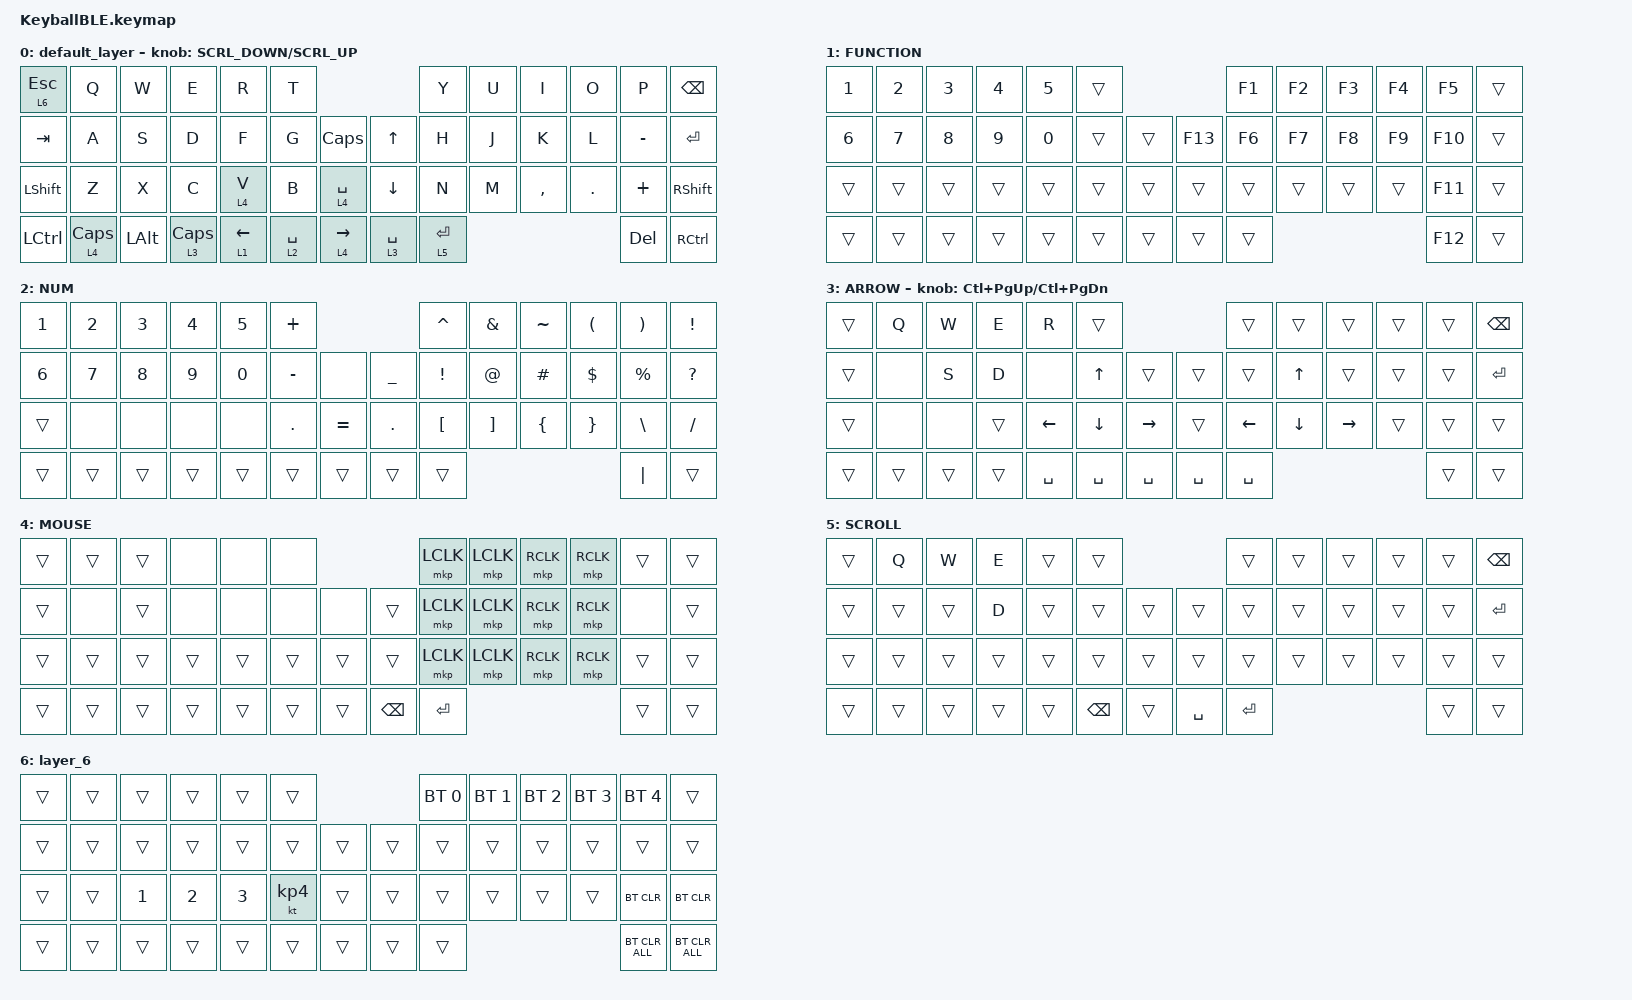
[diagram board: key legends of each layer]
#define ZMK_POINTING_DEFAULT_SCRL_VAL 120    // default: 10

#include <behaviors.dtsi>
#include <dt-bindings/zmk/bt.h>
#include <dt-bindings/zmk/keys.h>
#include <dt-bindings/zmk/pointing.h>

#define MOUSE 4
#define SCROLL 5
#define NUM 6

&mt {
    flavor = "balanced";
    quick-tap-ms = <0>;
};

/ {
    combos {
        compatible = "zmk,combos";

        double_quotation {
            bindings = <&kp DOUBLE_QUOTES>;
            key-positions = <20 21>;
        };
    };

    macros {
        to_layer_0: to_layer_0 {
            compatible = "zmk,behavior-macro-one-param";
            #binding-cells = <1>;
            bindings = <&to 0 &macro_param_1to1 &kp MACRO_PLACEHOLDER>;
            label = "TO_LAYER_0";
        };
    };

    behaviors {
        lt_to_layer_0: lt_to_layer_0 {
            compatible = "zmk,behavior-hold-tap";
            label = "LAYER_TAP_TO_0";
            bindings = <&mo>, <&to_layer_0>;

            #binding-cells = <2>;
            tapping-term-ms = <200>;
        };

        ROTATE: ROTATE {
            compatible = "zmk,behavior-sensor-rotate-var";
            label = "ROTATE";
            #sensor-binding-cells = <2>;
            bindings = <&msc>, <&msc>;

            tap-ms = <20>;
        };
    };

    keymap {
        compatible = "zmk,keymap";

        default_layer {
            bindings = <
&lt 6 ESC  &kp Q           &kp W     &kp E       &kp R             &kp T                                       &kp Y        &kp U  &kp I      &kp O    &kp P      &kp BSPC
&kp TAB    &kp A           &kp S     &kp D       &kp F             &kp G        &kp CAPS       &kp UP_ARROW    &kp H        &kp J  &kp K      &kp L    &kp MINUS  &kp ENTER
&kp LSHFT  &kp Z           &kp X     &kp C       &lt 4 V           &kp B        &lt 4 SPACE    &kp DOWN_ARROW  &kp N        &kp M  &kp COMMA  &kp DOT  &kp PLUS   &kp RSHFT
&kp LCTRL  &lt 4 CAPSLOCK  &kp LALT  &lt 3 CAPS  &lt 1 LEFT_ARROW  &lt 2 SPACE  &lt 4 RIGHT    &lt 3 SPACE     &lt 5 ENTER                             &kp DEL    &kp RCTRL
            >;

            sensor-bindings = <&ROTATE SCRL_DOWN SCRL_UP>;
        };

        FUNCTION {
            bindings = <
&kp NUMBER_1  &kp NUMBER_2  &kp NUMBER_3  &kp NUMBER_4  &kp NUMBER_5  &trans                     &kp F1  &kp F2  &kp F3  &kp F4  &kp F5   &trans
&kp NUMBER_6  &kp NUMBER_7  &kp NUMBER_8  &kp NUMBER_9  &kp NUMBER_0  &trans  &trans    &kp F13  &kp F6  &kp F7  &kp F8  &kp F9  &kp F10  &trans
&trans        &trans        &trans        &trans        &trans        &trans  &trans    &trans   &trans  &trans  &trans  &trans  &kp F11  &trans
&trans        &trans        &trans        &trans        &trans        &trans  &trans    &trans   &trans                          &kp F12  &trans
            >;
        };

        NUM {
            bindings = <
&kp NUMBER_1  &kp NUMBER_2  &kp NUMBER_3  &kp NUMBER_4  &kp NUMBER_5  &kp PLUS                                &kp CARET         &kp AMPERSAND      &kp TILDE       &kp LEFT_PARENTHESIS  &kp RIGHT_PARENTHESIS  &kp EXCL
&kp NUMBER_6  &kp NUMBER_7  &kp NUMBER_8  &kp NUMBER_9  &kp NUMBER_0  &kp MINUS  &none        &kp UNDERSCORE  &kp EXCLAMATION   &kp AT_SIGN        &kp HASH        &kp DOLLAR            &kp PERCENT            &kp QUESTION
&trans        &none         &none         &none         &none         &kp DOT    &kp EQUAL    &kp DOT         &kp LEFT_BRACKET  &kp RIGHT_BRACKET  &kp LEFT_BRACE  &kp RIGHT_BRACE       &kp BACKSLASH          &kp SLASH
&trans        &trans        &trans        &trans        &trans        &trans     &trans       &trans          &trans                                                                     &kp PIPE               &trans
            >;
        };

        ARROW {
            bindings = <
&trans  &kp Q   &kp W   &kp E   &kp R           &trans                                        &trans          &trans          &trans           &trans  &trans  &kp BACKSPACE
&trans  &none   &kp S   &kp D   &none           &kp UP_ARROW    &trans             &trans     &trans          &kp UP_ARROW    &trans           &trans  &trans  &kp ENTER
&trans  &none   &none   &trans  &kp LEFT_ARROW  &kp DOWN_ARROW  &kp RIGHT_ARROW    &trans     &kp LEFT_ARROW  &kp DOWN_ARROW  &kp RIGHT_ARROW  &trans  &trans  &trans
&trans  &trans  &trans  &trans  &kp SPACE       &kp SPACE       &kp SPACE          &kp SPACE  &kp SPACE                                                &trans  &trans
            >;

            sensor-bindings = <&inc_dec_kp LC(PAGE_UP) LC(PAGE_DOWN)>;
        };

        MOUSE {
            bindings = <
&trans  &trans  &trans  &none   &none   &none                            &mkp LCLK  &mkp LCLK  &mkp RCLK  &mkp RCLK  &trans  &trans
&trans  &none   &trans  &none   &none   &none   &none     &trans         &mkp LCLK  &mkp LCLK  &mkp RCLK  &mkp RCLK  &none   &trans
&trans  &trans  &trans  &trans  &trans  &trans  &trans    &trans         &mkp LCLK  &mkp LCLK  &mkp RCLK  &mkp RCLK  &trans  &trans
&trans  &trans  &trans  &trans  &trans  &trans  &trans    &kp BACKSPACE  &kp ENTER                                   &trans  &trans
            >;
        };

        SCROLL {
            bindings = <
&trans  &kp Q   &kp W   &kp E   &trans  &trans                              &trans     &trans  &trans  &trans  &trans  &kp BACKSPACE
&trans  &trans  &trans  &kp D   &trans  &trans         &trans    &trans     &trans     &trans  &trans  &trans  &trans  &kp ENTER
&trans  &trans  &trans  &trans  &trans  &trans         &trans    &trans     &trans     &trans  &trans  &trans  &trans  &trans
&trans  &trans  &trans  &trans  &trans  &kp BACKSPACE  &trans    &kp SPACE  &kp ENTER                          &trans  &trans
            >;
        };

        layer_6 {
            bindings = <
&trans  &trans  &trans        &trans        &trans        &trans                       &bt BT_SEL 0  &bt BT_SEL 1  &bt BT_SEL 2  &bt BT_SEL 3  &bt BT_SEL 4    &trans
&trans  &trans  &trans        &trans        &trans        &trans     &trans    &trans  &trans        &trans        &trans        &trans        &trans          &trans
&trans  &trans  &kp NUMBER_1  &kp NUMBER_2  &kp NUMBER_3  &kt KP_N4  &trans    &trans  &trans        &trans        &trans        &trans        &bt BT_CLR      &bt BT_CLR
&trans  &trans  &trans        &trans        &trans        &trans     &trans    &trans  &trans                                                  &bt BT_CLR_ALL  &bt BT_CLR_ALL
            >;
        };
    };
};
